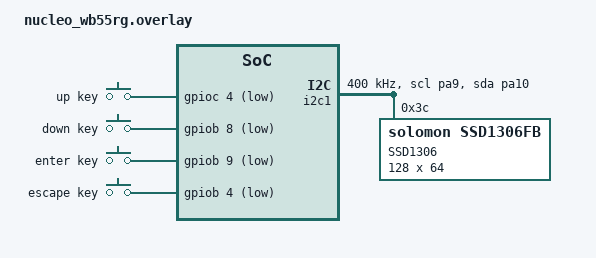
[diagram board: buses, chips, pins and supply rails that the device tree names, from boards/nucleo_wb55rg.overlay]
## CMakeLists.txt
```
# SPDX-License-Identifier: Apache-2.0

# list(APPEND ZEPHYR_EXTRA_MODULES
#   ${CMAKE_CURRENT_SOURCE_DIR}/modules/hw_timer
# )

cmake_minimum_required(VERSION 3.22.2)
find_package(Zephyr REQUIRED HINTS $ENV{ZEPHYR_BASE})
include(${ZEPHYR_BASE}/cmake/cfb.cmake NO_POLICY_SCOPE)
project(zephyr-test)

include_directories (src)
include_directories (../../../src)

target_sources(app PRIVATE 
    src/main.cc
    src/key.cc
)

set(gen_dir ${ZEPHYR_BINARY_DIR}/include/generated/)
generate_cfb_font_for_target(app src/fonts/oldschool-black-format.png ${gen_dir}/cfb_font_oldschool.h 7 8 --first 32 --last 126)
```

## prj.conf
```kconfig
# Compiler, std library
CONFIG_CPLUSPLUS=y
CONFIG_STD_CPP20=y
CONFIG_LIB_CPLUSPLUS=y
CONFIG_NEWLIB_LIBC=y

CONFIG_LOG=y

# Screen stuff
CONFIG_SSD1306=y
CONFIG_I2C=y
CONFIG_SSD1306_SH1106_COMPATIBLE=y
CONFIG_DISPLAY=y
CONFIG_CFB_LOG_LEVEL_DBG=y
CONFIG_CHARACTER_FRAMEBUFFER=y
# TODO try to lower this number
CONFIG_HEAP_MEM_POOL_SIZE=16384
# CONFIG_HEAP_MEM_POOL_SIZE=32768

CONFIG_NO_OPTIMIZATIONS=y


# CONFIG_MAIN_STACK_SIZE=2048
CONFIG_MAIN_STACK_SIZE=8192
# CONFIG_BT_STM32_IPM_RX_STACK_SIZE=2048
# CONFIG_BT_RX_STACK_SIZE=2048
# CONFIG_ISR_STACK_SIZE=8192
```

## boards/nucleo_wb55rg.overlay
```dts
// /home/iwasz/workspace/zephyrproject/modules/hal/stm32/dts/st/wb/stm32wb55rgvx-pinctrl.dtsi
// /home/iwasz/workspace/zephyrproject/zephyr/dts/arm/st/wb/stm32wb.dtsi
// /home/iwasz/workspace/zephyrproject/zephyr/dts/arm/st/wb/stm32wb55.dtsi
// /home/iwasz/workspace/zephyrproject/zephyr/dts/arm/st/wb/stm32wb55Xg.dtsi




/ {
    ui_buttons {
        compatible = "gpio-keys";

        button_up {
            gpios = <&gpioc 4 (GPIO_ACTIVE_LOW| GPIO_PULL_UP)>;
            label = "up key";
        };

        button_down {
            gpios = <&gpiob 8 (GPIO_ACTIVE_LOW| GPIO_PULL_UP)>;
            label = "down key";
        };

        button_enter {
            gpios = <&gpiob 9 (GPIO_ACTIVE_LOW| GPIO_PULL_UP)>;
            label = "enter key";
        };

        button_escape {
            gpios = <&gpiob 4 (GPIO_ACTIVE_LOW| GPIO_PULL_UP)>;
            label = "escape key";
        };

    };
};


&i2c1 {
    // pinctrl-0 = <&i2c1_scl_pb6 &i2c1_sda_pb7>;
    pinctrl-0 = <&i2c1_scl_pa9 &i2c1_sda_pa10>;

    status = "okay";
    clock-frequency = <I2C_BITRATE_FAST>;

    ssd1306@3c {
        compatible = "solomon,ssd1306fb";
        reg = <0x3c>;
        label = "SSD1306";
        width = <128>;
        height = <64>;
        segment-offset = <2>;
        page-offset = <0>;
        display-offset = <0>;
        multiplex-ratio = <63>;
        segment-remap;
        com-invdir;
        prechargep = <0x22>;
    };
};
```

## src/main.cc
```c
/****************************************************************************
 *                                                                          *
 *  Author : lukasz.iwaszkiewicz@gmail.com                                  *
 *  ~~~~~~~~                                                                *
 *  License : see COPYING file for details.                                 *
 *  ~~~~~~~~~                                                               *
 ****************************************************************************/

#include "cfb_font_oldschool.h"
#include "key.h"
#include <cstddef>
#include <oledgui/zephyrCfb.h>
#include <optional>
#include <string_view>
#include <type_traits>
#include <zephyr/device.h>
#include <zephyr/display/cfb.h>
#include <zephyr/drivers/gpio.h>
#include <zephyr/logging/log.h>
#include <zephyr/types.h>
#include <zephyr/zephyr.h>

LOG_MODULE_REGISTER (main);
K_SEM_DEFINE (userInput, 0, 1);

const struct device *display;

void init ()
{
        uint16_t rows;
        uint8_t ppt;

        display = device_get_binding ("SSD1306");

        if (display == NULL) {
                LOG_ERR ("Device not found\n");
                return;
        }

        if (display_set_pixel_format (display, PIXEL_FORMAT_MONO10) != 0) {
                LOG_ERR ("Failed to set required pixel format\n");
                return;
        }

        if (cfb_framebuffer_init (display)) {
                LOG_ERR ("Framebuffer initialization failed!\n");
                return;
        }

        cfb_framebuffer_clear (display, true);
        display_blanking_off (display);

        rows = cfb_get_display_parameter (display, CFB_DISPLAY_ROWS);
        ppt = cfb_get_display_parameter (display, CFB_DISPLAY_PPT);

        // for (int idx = 0; idx < 42; idx++) {
        //         if (cfb_get_font_size (dev, idx, &font_width, &font_height)) {
        //                 break;
        //         }

        //         // if (font_height == ppt) {
        //         cfb_framebuffer_set_font (dev, idx);
        //         printf ("font width %d, font height %d\n", font_width, font_height);
        //         // }
        // }

        // printf ("x_res %d, y_res %d, ppt %d, rows %d, cols %d\n", cfb_get_display_parameter (dev, CFB_DISPLAY_WIDTH),
        //         cfb_get_display_parameter (dev, CFB_DISPLAY_HEIGH), ppt, rows, cfb_get_display_parameter (dev, CFB_DISPLAY_COLS));

        cfb_framebuffer_set_font (display, 0);
        cfb_framebuffer_invert (display);
}

og::Key currentKey{og::Key::unknown};
og::Key getKey ()
{
        if (k_sem_take (&userInput, K_FOREVER) == 0) {
                auto tmp = currentKey;
                currentKey = og::Key::unknown;
                return tmp;
        }
}

int main ()
{
        init ();

        // TODO IRQ collision
        // zephyr::Key escKey (GPIO_DT_SPEC_GET (DT_PATH (ui_buttons, button_escape), gpios));
        zephyr::Key upKey (
                GPIO_DT_SPEC_GET (DT_PATH (ui_buttons, button_up), gpios),
                [] {
                        LOG_INF ("decrementFocus event");
                        currentKey = og::Key::decrementFocus;
                        k_sem_give (&userInput);
                },
                [] { LOG_INF ("df long"); });

        zephyr::Key downKey (
                GPIO_DT_SPEC_GET (DT_PATH (ui_buttons, button_down), gpios),
                [] {
                        LOG_INF ("incrementFocus event");
                        currentKey = og::Key::incrementFocus;
                        k_sem_give (&userInput);
                },
                [] { LOG_INF ("if long"); });

        zephyr::Key enterKey (
                GPIO_DT_SPEC_GET (DT_PATH (ui_buttons, button_enter), gpios),
                [] {
                        LOG_INF ("select event");
                        currentKey = og::Key::select;
                        k_sem_give (&userInput);
                },
                [] { LOG_INF ("en long"); });

        /*--------------------------------------------------------------------------*/

        using namespace og;
        using namespace std::string_view_literals;

        og::zephyr::cfb::Display<18, 7> d1 (display);

        bool showDialog{};

        std::string_view buff{R"(The
class
template
basic_string_view describes an object that can refer to a constant contiguous sequence of
char-like
objects
with
the first element of the sequence at position zero.)"};
        // std::string buff{"aaa"};

        auto txt = text<17, 7> (std::ref (buff));
        LineOffset startLine{};
        auto up = button ([&txt, &startLine] { startLine = txt.setStartLine (--startLine); }, "^"sv);
        auto dwn = button ([&txt, &startLine] { startLine = txt.setStartLine (++startLine); }, "v"sv);
        auto txtComp = hbox (std::ref (txt), vbox<1> (std::ref (up), vspace<5>, std::ref (dwn)));

        auto chk = check ([] (bool) {}, " 1 "sv);

        auto grp = group ([] (auto o) {}, radio (0, " R "sv), radio (1, " G "sv), radio (1, " B "sv), radio (1, " A "sv), radio (1, " C "sv),
                          radio (1, " M "sv), radio (1, " Y "sv), radio (1, " K "sv));

        auto vv = vbox (txtComp, //
                        hbox (hbox<1> (label ("^"sv)), label ("^"sv), label ("V"sv)), vbox ());
        //                 hbox (std::ref (chk), check (" 2 "sv)), //
        //                 std::ref (grp)                          //
        // );

        auto x = window<0, 0, 18, 7> (std::ref (txtComp));
        // log (x);

        /*--------------------------------------------------------------------------*/

        auto v = vbox (label ("  PIN:"sv), label (" 123456"sv),
                       hbox (button ([&showDialog] { showDialog = false; }, "[OK]"sv), button ([] {}, "[Cl]"sv)), check (true, " 15 "sv));

        auto dialog = window<4, 1, 10, 5, true> (std::ref (v));

        // log (dialog);

        while (true) {

                if (showDialog) {
                        draw (d1, x, dialog);
                        input (d1, dialog, getKey ()); // Blocking call.
                }
                else {
                        draw (d1, x);
                        input (d1, x, getKey ());
                }

                LOG_INF ("redraw");
        }
}
```

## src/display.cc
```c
/****************************************************************************
 *                                                                          *
 *  Author : lukasz.iwaszkiewicz@gmail.com                                  *
 *  ~~~~~~~~                                                                *
 *  License : see COPYING file for details.                                 *
 *  ~~~~~~~~~                                                               *
 ****************************************************************************/

#include "display.h"
#include <array>
#include <device.h>
#include <devicetree.h>
#include <display/cfb.h>
#include <drivers/gpio.h>
#include <logging/log.h>
#include <optional>
#include <zephyr.h>

LOG_MODULE_REGISTER (display);

namespace {
void displayThread (void *, void *, void *);
K_THREAD_DEFINE (disp, 2048, displayThread, NULL, NULL, NULL, 14, 0, 0);
} // namespace

namespace disp {

} // namespace disp
```

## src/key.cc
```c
// /****************************************************************************
//  *                                                                          *
//  *  Author : lukasz.iwaszkiewicz@gmail.com                                  *
//  *  ~~~~~~~~                                                                *
//  *  License : see COPYING file for details.                                 *
//  *  ~~~~~~~~~                                                               *
//  ****************************************************************************/

// #include "key.h"
// #include <logging/log.h>

// LOG_MODULE_REGISTER (key);

// namespace zephyr {

// template <typename Callback> Key<Callback>::Key (gpio_dt_spec const &devTr, og::Key val, Callback clb) : deviceTree{devTr}, value_{val}
// {

//         if (!device_is_ready (deviceTree.port)) {
//                 LOG_ERR ("Key not ready");
//                 return;
//         }

//         k_timer_init (&debounceTimer, onDebounceElapsed, NULL);

//         int ret = gpio_pin_configure_dt (&deviceTree, GPIO_INPUT | deviceTree.dt_flags);

//         if (ret != 0) {
//                 LOG_ERR ("Error %d: failed to configure %s pin %d\n", ret, deviceTree.port->name, deviceTree.pin);
//                 return;
//         }

//         ret = gpio_pin_interrupt_configure_dt (&deviceTree, GPIO_INT_EDGE_BOTH);
//         if (ret != 0) {
//                 LOG_ERR ("Error %d: failed to configure interrupt on %s pin %d\n", ret, deviceTree.port->name, deviceTree.pin);
//                 return;
//         }

//         gpio_init_callback (&data.buttonCb, onEdge, BIT (deviceTree.pin));
//         gpio_add_callback (deviceTree.port, &data.buttonCb);
// }

// /****************************************************************************/

// template <typename Callback> Key<Callback>::~Key () { gpio_remove_callback (deviceTree.port, &data.buttonCb); }

// /****************************************************************************/

// template <typename Callback> void Key<Callback>::onEdge (const struct device *dev, struct gpio_callback *cb, uint32_t pins)
// {
//         Key::Envelope *data = CONTAINER_OF (cb, Key::Envelope, buttonCb);

//         if (data && data->that) {
//                 data->that->lastPressedStatus = data->that->isPressed ();
//                 k_timer_user_data_set (&data->that->debounceTimer, data->that);
//                 k_timer_start (&data->that->debounceTimer, K_MSEC (32), K_NO_WAIT);
//         }

//         // LOG_INF ("onPressed");
// }

// /****************************************************************************/

// template <typename Callback> void Key<Callback>::onDebounceElapsed (struct k_timer *timer_id)
// {
//         auto *key = reinterpret_cast<Key *> (k_timer_user_data_get (timer_id));

//         if (key->isPressed () != key->lastPressedStatus) {
//                 return;
//         }

//         // LOG_INF ("id: %d, state: %d", int (key->value ()), int (key->lastPressedStatus));

//         if (key->state == State::idle && key->lastPressedStatus) {
//                 key->state = State::down;
//         }
//         else if (key->state == State::down && !key->lastPressedStatus) {
//                 key->state = State::idle;
//                 LOG_INF ("EVENT id: %d", int (key->value ()));
//         }
// }

// } // namespace zephyr

// /****************************************************************************/

// // og::Key getKey (int ch)
// // {
// //         // TODO characters must be customizable (compile time)
// //         switch (ch) {
// //         case KEY_DOWN:
// //                 return Key::incrementFocus;

// //         case KEY_UP:
// //                 return Key::decrementFocus;

// //         case int (' '):
// //                 return Key::select;

// //         default:
// //                 return Key::unknown;
// //         }
// // }

// // enum class Input : uint8_t { down, up, enter, esc };

// // uint8_t getInputs ()
// // {
// //         uint8_t event = (gpio_pin_get (buttonDown, BUTTON_DOWN_PIN) << int (Input::down)) | (gpio_pin_get (buttonUp, BUTTON_UP_PIN) << int
// //         (Input::up)) | gpio_pin_get (buttonEnter, BUTTON_ENTER_PIN) gpio_pin_get (buttonEnter, BUTTON_ESCAPE_PIN)
// // }

// og::Key getKey () { return og::Key::unknown; }
```

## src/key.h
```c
/****************************************************************************
 *                                                                          *
 *  Author : lukasz.iwaszkiewicz@gmail.com                                  *
 *  ~~~~~~~~                                                                *
 *  License : see COPYING file for details.                                 *
 *  ~~~~~~~~~                                                               *
 ****************************************************************************/

#pragma once
#include <cstddef>
#include <oledgui/zephyrCfb.h>
#include <string_view>
#include <type_traits>
#include <zephyr/device.h>
#include <zephyr/drivers/gpio.h>
#include <zephyr/kernel.h>
#include <zephyr/logging/log.h>
#include <zephyr/types.h>
#include <zephyr/zephyr.h>

namespace zephyr {

/**
 * Single key (button) implemented using an ISR.
 * OnPress and OnLongPress callbacks are run in an ISR context!
 */
template <std::invocable OnPress, std::invocable OnLongPress> class Key {
public:
        Key (gpio_dt_spec const &devTr, OnPress onp, OnLongPress olp);
        ~Key ();

        bool isPressed () const { return gpio_pin_get_dt (&deviceTree); }

private:
        static void onEdge (const struct device *dev, struct gpio_callback *cb, uint32_t pins);
        static void onDebounceElapsed (struct k_timer *timer_id);

        gpio_dt_spec deviceTree;

        struct Envelope {
                gpio_callback buttonCb{};
                Key *that{};
        };

        static_assert (std::is_standard_layout_v<Key::Envelope>);

        Envelope data{{}, this};
        bool lastPressedStatus{};
        k_timer debounceTimer{};

        enum class State { idle, down };
        State state{};

        OnPress onPress;
        OnLongPress onLongPress;
};

/****************************************************************************/

template <std::invocable OnPress, std::invocable OnLongPress>
Key<OnPress, OnLongPress>::Key (gpio_dt_spec const &devTr, OnPress onp, OnLongPress olp)
    : deviceTree{devTr}, onPress{std::move (onp)}, onLongPress{std::move (olp)}
{
        if (!device_is_ready (deviceTree.port)) {
                printk ("Key not ready");
                return;
        }

        k_timer_init (&debounceTimer, onDebounceElapsed, NULL);

        int ret = gpio_pin_configure_dt (&deviceTree, GPIO_INPUT | deviceTree.dt_flags);

        if (ret != 0) {
                printk ("Error %d: failed to configure %s pin %d\n", ret, deviceTree.port->name, deviceTree.pin);
                return;
        }

        ret = gpio_pin_interrupt_configure_dt (&deviceTree, GPIO_INT_EDGE_BOTH);
        if (ret != 0) {
                printk ("Error %d: failed to configure interrupt on %s pin %d\n", ret, deviceTree.port->name, deviceTree.pin);
                return;
        }

        gpio_init_callback (&data.buttonCb, onEdge, BIT (deviceTree.pin));
        gpio_add_callback (deviceTree.port, &data.buttonCb);
}

/****************************************************************************/

template <std::invocable OnPress, std::invocable OnLongPress> Key<OnPress, OnLongPress>::~Key ()
{
        gpio_remove_callback (deviceTree.port, &data.buttonCb);
}

/****************************************************************************/

template <std::invocable OnPress, std::invocable OnLongPress>
void Key<OnPress, OnLongPress>::onEdge (const struct device *dev, struct gpio_callback *cb, uint32_t pins)
{
        Key::Envelope *data = CONTAINER_OF (cb, Key::Envelope, buttonCb);

        if (data && data->that) {
                data->that->lastPressedStatus = data->that->isPressed ();
                k_timer_user_data_set (&data->that->debounceTimer, data->that);
                k_timer_start (&data->that->debounceTimer, K_MSEC (32), K_NO_WAIT);
        }

        // LOG_INF ("onPressed");
}

/****************************************************************************/

template <std::invocable OnPress, std::invocable OnLongPress> void Key<OnPress, OnLongPress>::onDebounceElapsed (struct k_timer *timer_id)
{
        auto *key = reinterpret_cast<Key *> (k_timer_user_data_get (timer_id));

        if (key->isPressed () != key->lastPressedStatus) {
                return;
        }

        // LOG_INF ("id: %d, state: %d", int (key->value ()), int (key->lastPressedStatus));

        if (key->state == State::idle && key->lastPressedStatus) {
                key->state = State::down;
                k_timer_start (&key->debounceTimer, K_MSEC (1000), K_NO_WAIT);
        }
        else if (key->state == State::down && key->lastPressedStatus) {
                key->state = State::idle;
                key->onLongPress ();
        }
        else if (key->state == State::down && !key->lastPressedStatus) {
                key->state = State::idle;
                key->onPress ();
        }
}

} // namespace zephyr
```
